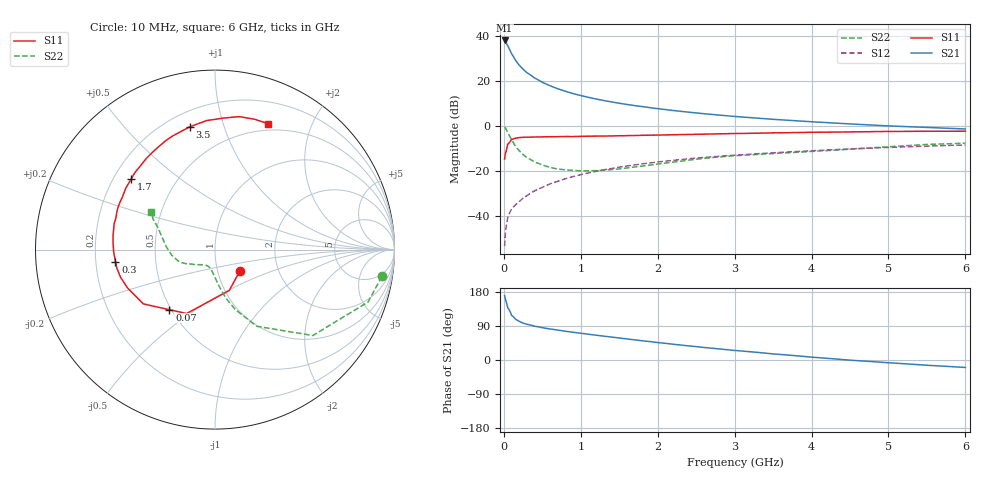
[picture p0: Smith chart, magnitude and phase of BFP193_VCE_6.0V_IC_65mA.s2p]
! Infineon Technologies  Discrete & RF Semiconductors
! BFP193
! VCE =  6.0 V,  IC =  65 mA
! Common Emitter S-Parameters:  Jan 2017
# GHz  S  MA  R  50
!  f  S11  S21  S12  S22
! GHz  MAG  ANG  MAG  ANG  MAG  ANG  MAG  ANG
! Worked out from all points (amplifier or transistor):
!   77 points, 10 MHz to 6 GHz, reference 50 ohm
!   highest |S21| = 38.0 dB at 10 MHz (marker M1)
!   |S21| within 3 dB of that: start of sweep to 60.53 MHz
!   unconditionally stable (mu >= 1): 480.8 MHz to 2.365 GHz
!   at 130 MHz: K = 0.66, MSG = 33.2 dB, |S12| = -35.9 dB
!   at 2.2 GHz: K = 1.01, MAG = 10.5 dB, |S12| = -15.4 dB
!   at 6 GHz: K = 0.92, MSG = 3.6 dB, |S12| = -8.5 dB
!   S11 on the Smith chart (normalised r, x): 10 MHz: 1.27, -0.32; 70 MHz: 0.49, -0.40; 300 MHz: 0.28, -0.06; 1.7 GHz: 0.27, +0.34; 3.5 GHz: 0.29, +0.78; 6 GHz: 0.42, +1.42
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0.01  0.183 -41.2  79.69 169.8  0.0021 90.6  0.942 -9.1
0.02  0.2411 -70.7  77.47 160.6  0.0043 88.3  0.9015 -18.9
0.05  0.3895 -113.9  61.21 138.2  0.0089 63.2  0.7256 -41.3
0.07  0.4203 -127.2  52.27 132.1  0.011 61.5  0.6217 -47.5
0.1  0.5006 -142.8  40.58 118.1  0.0141 59.9  0.4864 -61.4
0.15  0.532 -156.3  29.1 108.1  0.0174 60.6  0.3536 -71.2
0.2  0.5484 -163.7  22.48 101.9  0.0206 64.9  0.2788 -77.2
0.25  0.5563 -169.3  18.24 97.3  0.0247 64.1  0.2304 -81.1
0.3  0.5587 -173.1  15.31 94.3  0.028 67.8  0.1969 -84.6
0.4  0.5649 -178.9  11.63 89.2  0.0358 69.4  0.1573 -89.6
0.5  0.5693 176.2  9.34 85.3  0.0427 69.6  0.1349 -94.1
0.6  0.5731 172.5  7.824 81.9  0.0512 70.0  0.1191 -98.7
0.8  0.5802 165.7  5.893 75.9  0.0666 69.9  0.1053 -105.5
1.1  0.5892 156.7  4.314 68.1  0.09 67.5  0.1004 -116.1
1.4  0.5971 148.2  3.415 60.5  0.1127 63.9  0.1064 -127.2
1.7  0.6102 140.0  2.829 53.2  0.135 60.6  0.1218 -136.0
2.1  0.6289 129.7  2.307 44.0  0.1639 55.5  0.1487 -146.6
3.1  0.679 108.6  1.575 23.6  0.2281 42.5  0.2215 -165.5
3.5  0.6987 101.5  1.4 16.0  0.2517 38.1  0.2425 -172.5
4.1  0.7223 92.2  1.208 6.0  0.2846 30.7  0.2755 175.1
5.1  0.7535 78.4  0.983 -8.5  0.3358 19.1  0.351 157.6
6  0.7613 67.3  0.852 -19.7  0.3762 9.0  0.4121 149.4
